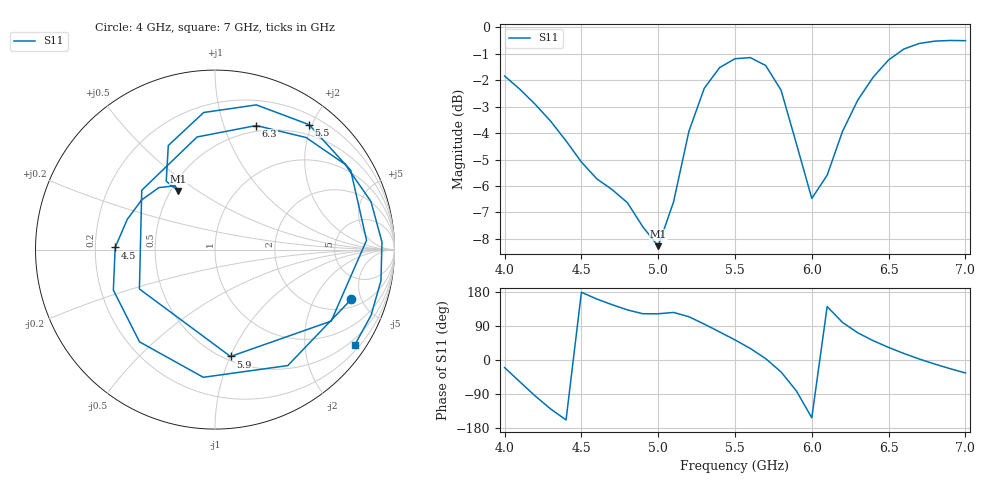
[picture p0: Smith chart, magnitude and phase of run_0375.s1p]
! Touchstone file exported from HFSS 2024.2.0
!  File:  C:/Users/wsak9/Desktop/Sim Fast/Widenad Patch/WP_AI_V1_sweep.aedt
!  Generated:  07:00:07 AM Oct 14, 2026
!  Design:  A1_model
!  Project:  WP_AI_V1_sweep
!  Setup:  Setup1
!  Solution:  Sweep
! Variables:
!  Air_gap = 4.59mm
!  Curve_Amp1 = 3.44
!  Curve_len1 = 1
!  Curve_pos = 12.195mm
!  Extra = 1.23mm
!  H_sub = 0.79mm
!  L_Patch = 20.39mm
!  L_Patch1 = 14.52mm
!  Sx = 1.71mm
!  Sy = 0.32mm
!  WS = 1.38mm
!  W_Patch = 16.94mm
!  W_Patch1 = 13.29mm
!Data is not renormalized
# GHz S MA
! Terminal data exported
! Port[1] = 1
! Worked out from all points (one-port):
!   31 points, 4 GHz to 7 GHz, reference per port
!   lowest |S11| = -8.3 dB at 5 GHz (marker M1), VSWR 2.26
!   |S11| at or under -10 dB: nowhere
!   S11 on the Smith chart (normalised r, x): 4 GHz: 2.58, -4.12; 4.5 GHz: 0.29, +0.01; 5.5 GHz: 0.34, +1.96; 5.9 GHz: 0.54, -1.00; 6.3 GHz: 0.44, +1.29; 7 GHz: 0.34, -3.21
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4  0.8085 -20.0
4.1  0.7629 -57.9
4.2  0.7144 -95.2
4.3  0.6641 -129.3
4.4  0.6097 -158.2
4.5  0.5562 178.7
4.6  0.5171 161.0
4.8  0.4659 132.2
5  0.3858 122.0
5.1  0.4677 125.5
5.2  0.6358 114.2
5.3  0.7665 94.7
5.4  0.8386 74.0
5.5  0.8715 53.0
5.6  0.8757 30.3
5.7  0.846 3.5
5.8  0.76 -31.6
5.9  0.6018 -81.7
6  0.4748 -152.5
6.1  0.5252 141.0
6.2  0.6355 99.1
6.3  0.7286 71.6
6.4  0.8046 50.9
6.5  0.8669 33.2
6.6  0.9092 17.1
6.7  0.9313 2.6
6.8  0.9407 -10.7
7  0.9426 -34.3
